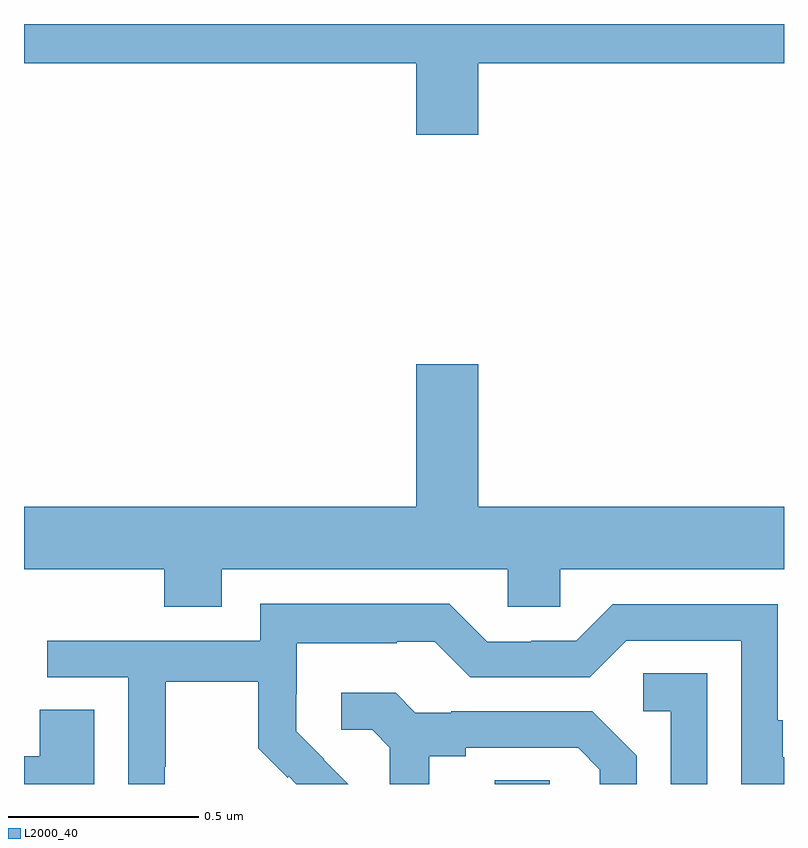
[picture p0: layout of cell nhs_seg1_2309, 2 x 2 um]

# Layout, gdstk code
import gdstk
lib = gdstk.Library(unit=1e-6, precision=1e-09)
def R(c, l, rs):  # rectangles x0, y0, x1, y1
    for r in rs: c.add(gdstk.rectangle(r[:2], r[2:], *l))
def P(c, l, *ps):  # polygons
    for p in ps: c.add(gdstk.Polygon(p, *l))
L2000_40 = (2000, 40)

nhs_seg1_2309 = lib.new_cell('nhs_seg1_2309')
R(nhs_seg1_2309, L2000_40, [(141.239,519.199,141.384,519.209)])
P(nhs_seg1_2309, L2000_40, [(141.196,521.096),(142,521.096),(142,521.199),(140,521.199),(140,521.096),(141.032,521.096),(141.032,520.908),(141.196,520.908)],
  [(140.521,519.764),(141.273,519.764),(141.273,519.666),(141.411,519.666),(141.411,519.764),(142,519.764),(142,519.928),(141.196,519.928),(141.196,520.303),(141.032,520.303),(141.032,519.928),(140,519.928),(140,519.764),(140.369,519.764),(140.369,519.665),(140.521,519.665)],
  [(140.37,519.244),(140.373,519.244),(140.373,519.468),(140.617,519.468),(140.617,519.293),(140.694,519.216),(140.697,519.219),(140.717,519.199),(140.853,519.199),(140.789,519.263),(140.79,519.264),(140.716,519.338),(140.716,519.435),(140.718,519.435),(140.718,519.569),(140.981,519.569),(140.981,519.573),(141.081,519.573),(141.174,519.48),(141.489,519.48),(141.585,519.576),(141.888,519.576),(141.888,519.199),(142,519.199),(142,519.27),(141.997,519.27),(141.997,519.367),(141.984,519.367),(141.984,519.672),(141.549,519.672),(141.453,519.576),(141.335,519.576),(141.335,519.573),(141.219,519.573),(141.119,519.673),(140.622,519.673),(140.622,519.576),(140.061,519.576),(140.061,519.48),(140.274,519.48),(140.274,519.199),(140.37,519.199)],
  [(141.798,519.491),(141.63,519.491),(141.63,519.39),(141.702,519.39),(141.702,519.199),(141.798,519.199)],
  [(141.067,519.272),(141.163,519.272),(141.163,519.294),(141.458,519.294),(141.515,519.237),(141.515,519.199),(141.612,519.199),(141.612,519.274),(141.496,519.39),(141.124,519.39),(141.124,519.387),(141.03,519.387),(140.978,519.439),(140.835,519.439),(140.835,519.342),(140.916,519.342),(140.963,519.295),(140.963,519.199),(141.067,519.199)],
  [(140.185,519.395),(140.042,519.395),(140.042,519.272),(140,519.272),(140,519.199),(140.185,519.199)])

lib.write_gds('nhs_seg1_2309.gds')
